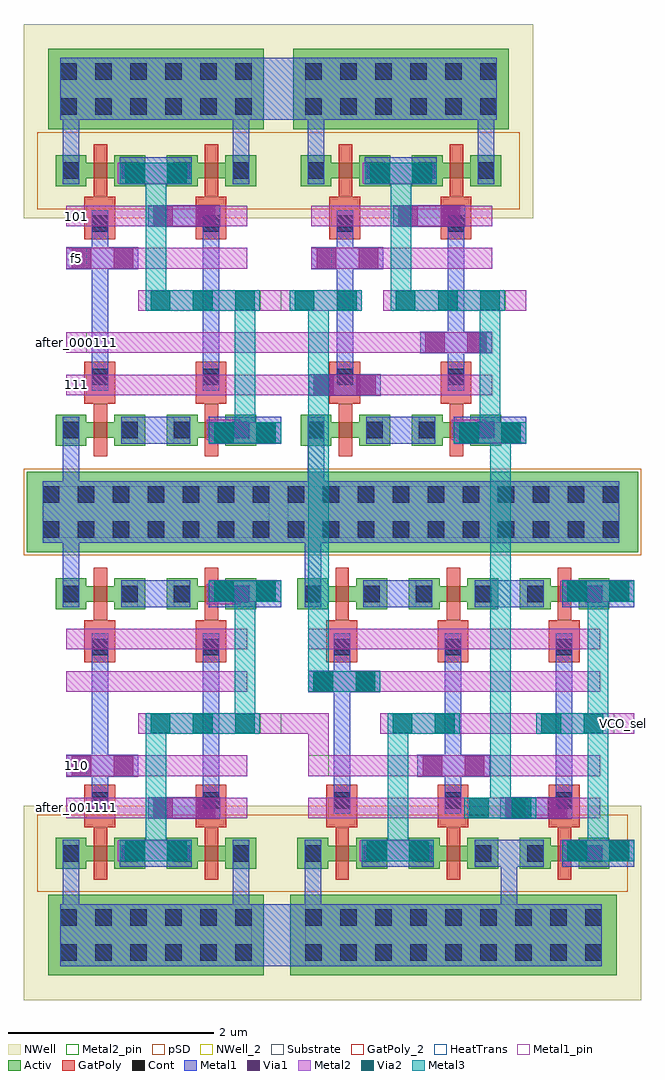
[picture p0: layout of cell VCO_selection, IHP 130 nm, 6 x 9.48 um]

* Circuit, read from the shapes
.subckt VCO_selection 101 110 111 GND VCO_sel after_000111 after_001111 f5
XM1 n1 110 GND GND sg13_lv_nmos w=0.15u l=0.13u
XM2 n2 f5 GND GND sg13_lv_nmos w=0.15u l=0.13u
XM3 NAND_3in_3/b after_001111 n1 GND sg13_lv_nmos w=0.15u l=0.13u
XM4 NAND_3in_3/c 101 n2 GND sg13_lv_nmos w=0.15u l=0.13u
XM5 n3 NAND_3in_3/c GND GND sg13_lv_nmos w=0.15u l=0.13u
XM6 n4 111 GND GND sg13_lv_nmos w=0.15u l=0.13u
XM7 n5 NAND_3in_3/b n3 GND sg13_lv_nmos w=0.15u l=0.13u
XM8 NAND_3in_3/a after_000111 n4 GND sg13_lv_nmos w=0.15u l=0.13u
XM9 VCO_sel NAND_3in_3/a n5 GND sg13_lv_nmos w=0.15u l=0.13u
XM10 NAND_3in_3/b 110 NAND_2in_2/VP NAND_2in_2/VP sg13_lv_pmos w=0.15u l=0.13u
XM11 NAND_3in_3/c f5 NAND_2in_0/VP NAND_2in_0/VP sg13_lv_pmos w=0.15u l=0.13u
XM12 NAND_2in_2/VP after_001111 NAND_3in_3/b NAND_2in_2/VP sg13_lv_pmos w=0.15u l=0.13u
XM13 NAND_2in_0/VP 101 NAND_3in_3/c NAND_2in_0/VP sg13_lv_pmos w=0.15u l=0.13u
XM14 VCO_sel NAND_3in_3/c NAND_2in_2/VP NAND_2in_2/VP sg13_lv_pmos w=0.15u l=0.13u
XM15 NAND_3in_3/a 111 NAND_2in_0/VP NAND_2in_0/VP sg13_lv_pmos w=0.15u l=0.13u
XM16 NAND_2in_2/VP NAND_3in_3/b VCO_sel NAND_2in_2/VP sg13_lv_pmos w=0.15u l=0.13u
XM17 NAND_2in_0/VP after_000111 NAND_3in_3/a NAND_2in_0/VP sg13_lv_pmos w=0.15u l=0.13u
XM18 VCO_sel NAND_3in_3/a NAND_2in_2/VP NAND_2in_2/VP sg13_lv_pmos w=0.15u l=0.13u
.ends

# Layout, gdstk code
from math import pi, radians
import gdstk
lib = gdstk.Library(unit=1e-6, precision=1e-09)
def R(c, l, rs):  # rectangles x0, y0, x1, y1
    for r in rs: c.add(gdstk.rectangle(r[:2], r[2:], *l))
def A(c, l, x, y, w, h, nx, ny, dx, dy):  # array of equal rectangles
    R(c, l, [(x+i*dx, y+j*dy, x+i*dx+w, y+j*dy+h) for i in range(nx) for j in range(ny)])
Activ = (1, 0)
GatPoly = (5, 0)
GatPoly_2 = (5, 2)
Cont = (6, 0)
Metal1 = (8, 0)
Metal1_pin = (8, 2)
Metal2 = (10, 0)
Metal2_pin = (10, 2)
pSD = (14, 0)
Via1 = (19, 0)
Via2 = (29, 0)
Metal3 = (30, 0)
NWell = (31, 0)
NWell_2 = (31, 2)
Substrate = (40, 0)
HeatTrans = (51, 0)

via_4 = lib.new_cell('Via$4')
R(via_4, Metal2, [(-0.1,-0.35,0.1,0.35)])
R(via_4, Via2, [(-0.095,-0.3,0.095,-0.11), (-0.095,0.11,0.095,0.3)])
R(via_4, Metal3, [(-0.1,-0.35,0.1,0.35)])

via_2 = lib.new_cell('Via$2')
R(via_2, Metal1, [(-0.105,-0.35,0.105,0.35)])
R(via_2, Metal2, [(-0.1,-0.35,0.1,0.35)])
R(via_2, Via1, [(-0.095,-0.3,0.095,-0.11), (-0.095,0.11,0.095,0.3)])

ntap1 = lib.new_cell('ntap1')
R(ntap1, Activ, [(0,0,2.09,0.78)])
A(ntap1, Cont, 0.115, 0.14, 0.16, 0.16, 6, 2, 0.34, 0.34)
R(ntap1, Metal1, [(0.115,0.09,1.975,0.69)])
R(ntap1, Metal1_pin, [(0.115,0.09,1.975,0.69), (0.115,0.14,1.975,0.64)])
R(ntap1, NWell, [(-0.24,-0.24,2.33,1.02), (0,0,2.09,0.78)])
R(ntap1, NWell_2, [(0,0,2.09,0.78)])
ntap1.add(gdstk.Label('well', (1.045,0.01), layer=63, texttype=0))
ntap1.add(gdstk.Label('well', (1.045,0.01), layer=31, texttype=0))

ptap1 = lib.new_cell('ptap1')
R(ptap1, Activ, [(0,0,2.51,0.78)])
A(ptap1, Cont, 0.155, 0.14, 0.16, 0.16, 7, 2, 0.34, 0.34)
R(ptap1, Metal1, [(0.155,0.09,2.355,0.69), (0.155,0.14,2.355,0.64)])
R(ptap1, Metal1_pin, [(0.155,0.14,2.355,0.64)])
R(ptap1, pSD, [(-0.03,-0.03,2.54,0.81)])
R(ptap1, Substrate, [(0,0,2.51,0.78)])
ptap1.add(gdstk.Label('sub!', (1.255,0.01), layer=63, texttype=0))
ptap1.add(gdstk.Label('sub!', (1.255,0.01), layer=40, texttype=0))

nmos = lib.new_cell('nmos')
R(nmos, Activ, [(0,0,0.3,0.3), (0.57,0,0.87,0.3), (0,0.075,0.87,0.225)])
R(nmos, GatPoly, [(0.37,-0.105,0.5,0.405)])
R(nmos, GatPoly_2, [(0.37,-0.105,0.5,0.405)])
R(nmos, Cont, [(0.07,0.07,0.23,0.23), (0.64,0.07,0.8,0.23)])
R(nmos, Metal1, [(0.07,0.02,0.23,0.28), (0.64,0.02,0.8,0.28)])
R(nmos, Metal1_pin, [(0.07,0.02,0.23,0.28), (0.64,0.02,0.8,0.28)])
R(nmos, HeatTrans, [(0.37,-0.105,0.5,0.405)])
nmos.add(gdstk.Label('nmos', (0.435,0.15), layer=63, texttype=0))
nmos.add(gdstk.Label('nmos', (0.435,0.15), layer=51, texttype=0))

pmos = lib.new_cell('pmos')
R(pmos, Activ, [(0,0,0.3,0.3), (0.57,0,0.87,0.3), (0,0.075,0.87,0.225)])
R(pmos, GatPoly, [(0.37,-0.105,0.5,0.405), (0.37,-0.105,0.5,0.405)])
R(pmos, Cont, [(0.07,0.07,0.23,0.23), (0.64,0.07,0.8,0.23)])
R(pmos, Metal1, [(0.07,0.02,0.23,0.28), (0.07,0.02,0.23,0.28), (0.64,0.02,0.8,0.28), (0.64,0.02,0.8,0.28)])
R(pmos, pSD, [(-0.18,-0.225,1.05,0.525)])
R(pmos, NWell, [(-0.31,-0.31,1.18,0.61)])
R(pmos, Substrate, [(0.57,0,0.87,0.3)])
R(pmos, HeatTrans, [(0.37,-0.105,0.5,0.405)])
pmos.add(gdstk.Label('pmos', (0.435,0.15), layer=63, texttype=0))
pmos.add(gdstk.Label('pmos', (0.435,0.15), layer=51, texttype=0))

via = lib.new_cell('Via')
R(via, GatPoly, [(-0.15,-0.15,0.15,0.15)])
R(via, Cont, [(-0.08,-0.08,0.08,0.08)])
R(via, Metal1, [(-0.13,-0.08,0.13,0.08)])

via_7 = lib.new_cell('Via$7')
R(via_7, Metal2, [(-0.555,-0.1,0.555,0.1)])
A(via_7, Via2, -0.505, -0.095, 0.19, 0.19, 3, 1, 0.41, 0)
R(via_7, Metal3, [(-0.555,-0.1,0.555,0.1)])

via_6 = lib.new_cell('Via$6')
R(via_6, Metal1, [(-0.35,-0.105,0.35,0.105)])
R(via_6, Metal2, [(-0.35,-0.1,0.35,0.1)])
R(via_6, Via1, [(-0.3,-0.095,-0.11,0.095), (0.11,-0.095,0.3,0.095)])

nand_2in = lib.new_cell('NAND_2in')
R(nand_2in, GatPoly, [(9.375,7.165,9.675,7.275), (10.455,7.165,10.755,7.275), (9.375,9.065,9.675,9.175), (10.455,9.065,10.755,9.175)])
R(nand_2in, Metal1, [(9.735,6.78,10.405,7.04), (10.585,6.78,11.285,7.04), (9.72,9.3,10.42,9.56)])
R(nand_2in, Metal1_pin, [(9.16,6.015,9.36,6.215), (9.325,10.12,9.525,10.32)])
R(nand_2in, Metal2_pin, [(11.085,8.07,11.285,8.27), (9.2,8.48,9.4,8.68), (9.2,8.89,9.4,9.09)])
nand_2in.add(gdstk.FlexPath([(9.245,9.56),(9.245,10.525)], 0.16, ends="flush", simple_path=True, layer=8, datatype=0))  # Metal1
nand_2in.add(gdstk.FlexPath([(10.895,9.56),(10.895,10.525)], 0.16, ends="flush", simple_path=True, layer=8, datatype=0))  # Metal1
nand_2in.add(gdstk.FlexPath([(9.245,6.78),(9.245,6.415)], 0.16, ends="flush", simple_path=True, layer=8, datatype=0))  # Metal1
nand_2in.add(gdstk.FlexPath([(9.525,7.555),(9.525,8.785)], 0.16, ends="flush", simple_path=True, layer=8, datatype=0))  # Metal1
nand_2in.add(gdstk.FlexPath([(10.605,7.555),(10.605,8.785)], 0.16, ends="flush", simple_path=True, layer=8, datatype=0))  # Metal1
nand_2in.add(gdstk.FlexPath([(9.9,8.17),(11.285,8.17)], 0.2, ends="flush", simple_path=True, layer=10, datatype=0))  # Metal2
nand_2in.add(gdstk.FlexPath([(10.895,6.91),(10.565,6.91)], 0.2, ends="flush", simple_path=True, layer=10, datatype=0))  # Metal2
nand_2in.add(gdstk.FlexPath([(9.865,9.405),(9.7,9.405)], 0.2, ends="flush", simple_path=True, layer=10, datatype=0))  # Metal2
nand_2in.add(gdstk.FlexPath([(10.43,8.58),(10.43,8.58)], 0.2, ends="flush", simple_path=True, layer=10, datatype=0))  # Metal2
nand_2in.add(gdstk.FlexPath([(9.2,8.99),(10.955,8.99)], 0.2, ends="flush", simple_path=True, layer=10, datatype=0))  # Metal2
nand_2in.add(gdstk.FlexPath([(9.2,8.58),(10.955,8.58)], 0.2, ends="flush", simple_path=True, layer=10, datatype=0))  # Metal2
nand_2in.add(gdstk.FlexPath([(9.2,7.76),(10.955,7.76)], 0.2, ends="flush", simple_path=True, layer=10, datatype=0))  # Metal2
nand_2in.add(gdstk.FlexPath([(9.2,7.35),(10.955,7.35)], 0.2, ends="flush", simple_path=True, layer=10, datatype=0))  # Metal2
nand_2in.add(gdstk.FlexPath([(10.07,9.305),(10.07,8.07)], 0.2, ends="flush", simple_path=True, layer=30, datatype=0))  # Metal3
nand_2in.add(gdstk.FlexPath([(10.935,6.885),(10.935,8.07)], 0.2, ends="flush", simple_path=True, layer=30, datatype=0))  # Metal3
nand_2in.add(gdstk.Reference(via_4, (10.935,6.885), rotation=3*pi/2))
nand_2in.add(gdstk.Reference(via_2, (10.935,6.885), rotation=3*pi/2))
nand_2in.add(gdstk.Reference(ntap1, (9.025,9.835)))
nand_2in.add(gdstk.Reference(ptap1, (8.815,5.725)))
nand_2in.add(gdstk.Reference(nmos, (10.175,6.76)))
nand_2in.add(gdstk.Reference(pmos, (10.175,9.28)))
nand_2in.add(gdstk.Reference(nmos, (9.095,6.76)))
nand_2in.add(gdstk.Reference(pmos, (9.095,9.28)))
nand_2in.add(gdstk.Reference(via, (9.525,8.915), rotation=pi/2))
nand_2in.add(gdstk.Reference(via, (10.605,8.915), rotation=pi/2))
nand_2in.add(gdstk.Reference(via, (10.605,7.425), rotation=3*pi/2))
nand_2in.add(gdstk.Reference(via, (9.525,7.425), rotation=3*pi/2))
nand_2in.add(gdstk.Reference(via_2, (9.55,8.58), rotation=3*pi/2))
nand_2in.add(gdstk.Reference(via_7, (10.525,8.17)))
nand_2in.add(gdstk.Reference(via_2, (10.07,9.405), rotation=3*pi/2))
nand_2in.add(gdstk.Reference(via_4, (10.07,9.405), rotation=3*pi/2))
nand_2in.add(gdstk.Reference(via_6, (10.345,8.99)))
nand_2in.add(gdstk.Label('y', (11.185,8.17), layer=10, texttype=25))
nand_2in.add(gdstk.Label('b', (9.315,8.575), layer=10, texttype=25))
nand_2in.add(gdstk.Label('a', (9.3,8.99), layer=10, texttype=25))
nand_2in.add(gdstk.Label('VP', (9.295,10.22), layer=8, texttype=25))
nand_2in.add(gdstk.Label('GND', (9.26,6.115), layer=8, texttype=25))

ntap1_1 = lib.new_cell('ntap1$1')
R(ntap1_1, Activ, [(0,0,3.17,0.78)])
A(ntap1_1, Cont, 0.145, 0.14, 0.16, 0.16, 9, 2, 0.34, 0.34)
R(ntap1_1, Metal1, [(0.145,0.09,3.025,0.69)])
R(ntap1_1, Metal1_pin, [(0.145,0.09,3.025,0.69), (0.145,0.14,3.025,0.64)])
R(ntap1_1, NWell, [(-0.24,-0.24,3.41,1.02), (0,0,3.17,0.78)])
R(ntap1_1, NWell_2, [(0,0,3.17,0.78)])
ntap1_1.add(gdstk.Label('well', (1.585,0.01), layer=63, texttype=0))
ntap1_1.add(gdstk.Label('well', (1.585,0.01), layer=31, texttype=0))

ptap1_1 = lib.new_cell('ptap1$1')
R(ptap1_1, Activ, [(0,0,3.59,0.78)])
A(ptap1_1, Cont, 0.185, 0.14, 0.16, 0.16, 10, 2, 0.34, 0.34)
R(ptap1_1, Metal1, [(0.185,0.09,3.405,0.69), (0.185,0.14,3.405,0.64)])
R(ptap1_1, Metal1_pin, [(0.185,0.14,3.405,0.64)])
R(ptap1_1, pSD, [(-0.03,-0.03,3.62,0.81)])
R(ptap1_1, Substrate, [(0,0,3.59,0.78)])
ptap1_1.add(gdstk.Label('sub!', (1.795,0.01), layer=63, texttype=0))
ptap1_1.add(gdstk.Label('sub!', (1.795,0.01), layer=40, texttype=0))

nmos_1 = lib.new_cell('nmos$1')
R(nmos_1, Activ, [(0,0,0.3,0.3), (0.57,0,0.87,0.3), (0,0.075,0.87,0.225)])
R(nmos_1, GatPoly, [(0.37,-0.105,0.5,0.405)])
R(nmos_1, GatPoly_2, [(0.37,-0.105,0.5,0.405)])
R(nmos_1, Cont, [(0.07,0.07,0.23,0.23), (0.64,0.07,0.8,0.23)])
R(nmos_1, Metal1, [(0.07,0.02,0.23,0.28), (0.64,0.02,0.8,0.28)])
R(nmos_1, Metal1_pin, [(0.07,0.02,0.23,0.28), (0.64,0.02,0.8,0.28)])
R(nmos_1, HeatTrans, [(0.37,-0.105,0.5,0.405)])
nmos_1.add(gdstk.Label('nmos', (0.435,0.15), layer=63, texttype=0))
nmos_1.add(gdstk.Label('nmos', (0.435,0.15), layer=51, texttype=0))

pmos_1 = lib.new_cell('pmos$1')
R(pmos_1, Activ, [(0,0,0.3,0.3), (0.57,0,0.87,0.3), (0,0.075,0.87,0.225)])
R(pmos_1, GatPoly, [(0.37,-0.105,0.5,0.405), (0.37,-0.105,0.5,0.405)])
R(pmos_1, Cont, [(0.07,0.07,0.23,0.23), (0.64,0.07,0.8,0.23)])
R(pmos_1, Metal1, [(0.07,0.02,0.23,0.28), (0.07,0.02,0.23,0.28), (0.64,0.02,0.8,0.28), (0.64,0.02,0.8,0.28)])
R(pmos_1, pSD, [(-0.18,-0.225,1.05,0.525)])
R(pmos_1, NWell, [(-0.31,-0.31,1.18,0.61)])
R(pmos_1, Substrate, [(0.57,0,0.87,0.3)])
R(pmos_1, HeatTrans, [(0.37,-0.105,0.5,0.405)])
pmos_1.add(gdstk.Label('pmos', (0.435,0.15), layer=63, texttype=0))
pmos_1.add(gdstk.Label('pmos', (0.435,0.15), layer=51, texttype=0))

via_8 = lib.new_cell('Via$8')
R(via_8, GatPoly, [(-0.15,-0.15,0.15,0.15)])
R(via_8, Cont, [(-0.08,-0.08,0.08,0.08)])
R(via_8, Metal1, [(-0.13,-0.08,0.13,0.08)])

via_2_1 = lib.new_cell('Via$2$1')
R(via_2_1, Metal1, [(-0.105,-0.35,0.105,0.35)])
R(via_2_1, Metal2, [(-0.1,-0.35,0.1,0.35)])
R(via_2_1, Via1, [(-0.095,-0.3,0.095,-0.11), (-0.095,0.11,0.095,0.3)])

via_8_1 = lib.new_cell('Via$8$1')
R(via_8_1, Metal2, [(-0.35,-0.1,0.35,0.1)])
R(via_8_1, Via2, [(-0.3,-0.095,-0.11,0.095), (0.11,-0.095,0.3,0.095)])
R(via_8_1, Metal3, [(-0.35,-0.1,0.35,0.1)])

via_4_1 = lib.new_cell('Via$4$1')
R(via_4_1, Metal2, [(-0.1,-0.35,0.1,0.35)])
R(via_4_1, Via2, [(-0.095,-0.3,0.095,-0.11), (-0.095,0.11,0.095,0.3)])
R(via_4_1, Metal3, [(-0.1,-0.35,0.1,0.35)])

via_6_1 = lib.new_cell('Via$6$1')
R(via_6_1, Metal1, [(-0.35,-0.105,0.35,0.105)])
R(via_6_1, Metal2, [(-0.35,-0.1,0.35,0.1)])
R(via_6_1, Via1, [(-0.3,-0.095,-0.11,0.095), (0.11,-0.095,0.3,0.095)])

nand_3in = lib.new_cell('NAND_3in')
A(nand_3in, GatPoly, 9.375, 7.165, 0.3, 0.11, 3, 2, 1.08, 1.9)
R(nand_3in, Metal1, [(9.735,6.78,10.405,7.04), (10.815,6.78,11.485,7.04), (11.665,6.78,12.365,7.04), (9.72,9.3,10.42,9.56), (10.815,9.3,11.485,9.56), (11.665,9.3,12.365,9.56)])
R(nand_3in, Metal1_pin, [(9.16,6.015,9.36,6.215), (9.325,10.12,9.525,10.32)])
R(nand_3in, Metal2_pin, [(9.2,7.66,9.4,7.86), (12.165,8.07,12.365,8.27), (9.2,8.48,9.4,8.68), (9.2,8.89,9.4,9.09)])
nand_3in.add(gdstk.FlexPath([(11.685,7.555),(11.685,8.785)], 0.16, ends="flush", simple_path=True, layer=8, datatype=0))  # Metal1
nand_3in.add(gdstk.FlexPath([(11.15,9.56),(11.15,9.925)], 0.16, ends="flush", simple_path=True, layer=8, datatype=0))  # Metal1
nand_3in.add(gdstk.FlexPath([(9.245,9.56),(9.245,10.525)], 0.16, ends="flush", simple_path=True, layer=8, datatype=0))  # Metal1
nand_3in.add(gdstk.FlexPath([(9.245,6.78),(9.245,6.415)], 0.16, ends="flush", simple_path=True, layer=8, datatype=0))  # Metal1
nand_3in.add(gdstk.FlexPath([(9.525,7.555),(9.525,8.785)], 0.16, ends="flush", simple_path=True, layer=8, datatype=0))  # Metal1
nand_3in.add(gdstk.FlexPath([(10.605,7.555),(10.605,8.785)], 0.16, ends="flush", simple_path=True, layer=8, datatype=0))  # Metal1
nand_3in.add(gdstk.FlexPath([(9.9,8.17),(12.365,8.17)], 0.2, ends="flush", simple_path=True, layer=10, datatype=0))  # Metal2
nand_3in.add(gdstk.FlexPath([(11.81,9.405),(11.645,9.405)], 0.2, ends="flush", simple_path=True, layer=10, datatype=0))  # Metal2
nand_3in.add(gdstk.FlexPath([(11.81,6.885),(11.645,6.885)], 0.2, ends="flush", simple_path=True, layer=10, datatype=0))  # Metal2
nand_3in.add(gdstk.FlexPath([(9.2,7.76),(12.035,7.76)], 0.2, ends="flush", simple_path=True, layer=10, datatype=0))  # Metal2
nand_3in.add(gdstk.FlexPath([(9.2,7.35),(12.035,7.35)], 0.2, ends="flush", simple_path=True, layer=10, datatype=0))  # Metal2
nand_3in.add(gdstk.FlexPath([(9.2,8.99),(12.035,8.99)], 0.2, ends="flush", simple_path=True, layer=10, datatype=0))  # Metal2
nand_3in.add(gdstk.FlexPath([(9.2,8.58),(12.035,8.58)], 0.2, ends="flush", simple_path=True, layer=10, datatype=0))  # Metal2
nand_3in.add(gdstk.FlexPath([(9.865,9.405),(9.7,9.405)], 0.2, ends="flush", simple_path=True, layer=10, datatype=0))  # Metal2
nand_3in.add(gdstk.FlexPath([(10.43,8.58),(10.43,8.58)], 0.2, ends="flush", simple_path=True, layer=10, datatype=0))  # Metal2
nand_3in.add(gdstk.FlexPath([(12.015,6.885),(12.015,8.17)], 0.2, ends="flush", simple_path=True, layer=30, datatype=0))  # Metal3
nand_3in.add(gdstk.FlexPath([(12.015,9.405),(12.015,8.17)], 0.2, ends="flush", simple_path=True, layer=30, datatype=0))  # Metal3
nand_3in.add(gdstk.FlexPath([(10.07,9.305),(10.07,8.07)], 0.2, ends="flush", simple_path=True, layer=30, datatype=0))  # Metal3
nand_3in.add(gdstk.Reference(ntap1_1, (9.025,9.835)))
nand_3in.add(gdstk.Reference(ptap1_1, (8.815,5.725)))
nand_3in.add(gdstk.Reference(nmos_1, (10.175,6.76)))
nand_3in.add(gdstk.Reference(pmos_1, (10.175,9.28)))
nand_3in.add(gdstk.Reference(nmos_1, (9.095,6.76)))
nand_3in.add(gdstk.Reference(pmos_1, (9.095,9.28)))
nand_3in.add(gdstk.Reference(via_8, (9.525,8.915), rotation=pi/2))
nand_3in.add(gdstk.Reference(via_8, (10.605,8.915), rotation=pi/2))
nand_3in.add(gdstk.Reference(via_8, (10.605,7.425), rotation=3*pi/2))
nand_3in.add(gdstk.Reference(via_8, (9.525,7.425), rotation=3*pi/2))
nand_3in.add(gdstk.Reference(via_2_1, (10.61,8.58), rotation=3*pi/2))
nand_3in.add(gdstk.Reference(via_8_1, (10.32,8.17)))
nand_3in.add(gdstk.Reference(via_2_1, (10.07,9.405), rotation=3*pi/2))
nand_3in.add(gdstk.Reference(via_4_1, (10.07,9.405), rotation=3*pi/2))
nand_3in.add(gdstk.Reference(via_6_1, (11.415,8.99)))
nand_3in.add(gdstk.Reference(pmos_1, (11.255,9.28)))
nand_3in.add(gdstk.Reference(nmos_1, (11.255,6.76)))
nand_3in.add(gdstk.Reference(via_8, (11.685,8.915), rotation=pi/2))
nand_3in.add(gdstk.Reference(via_8, (11.685,7.425), rotation=3*pi/2))
nand_3in.add(gdstk.Reference(via_2_1, (9.55,7.76), rotation=3*pi/2))
nand_3in.add(gdstk.Reference(via_2_1, (12.015,9.405), rotation=3*pi/2))
nand_3in.add(gdstk.Reference(via_4_1, (12.015,9.405), rotation=3*pi/2))
nand_3in.add(gdstk.Reference(via_2_1, (12.015,6.885), rotation=3*pi/2))
nand_3in.add(gdstk.Reference(via_4_1, (12.015,6.885), rotation=3*pi/2))
nand_3in.add(gdstk.Reference(via_8_1, (11.765,8.17)))
nand_3in.add(gdstk.Label('c', (9.315,7.755), layer=10, texttype=25))
nand_3in.add(gdstk.Label('y', (12.265,8.17), layer=10, texttype=25))
nand_3in.add(gdstk.Label('b', (9.315,8.575), layer=10, texttype=25))
nand_3in.add(gdstk.Label('a', (9.3,8.99), layer=10, texttype=25))
nand_3in.add(gdstk.Label('VP', (9.295,10.22), layer=8, texttype=25))
nand_3in.add(gdstk.Label('GND', (9.26,6.115), layer=8, texttype=25))

via_10 = lib.new_cell('Via$10')
R(via_10, Metal2, [(-0.35,-0.1,0.35,0.1)])
R(via_10, Via2, [(-0.3,-0.095,-0.11,0.095), (0.11,-0.095,0.3,0.095)])
R(via_10, Metal3, [(-0.35,-0.1,0.35,0.1)])

via_12 = lib.new_cell('Via$12')
R(via_12, Metal2, [(-0.35,-0.1,0.35,0.1)])
R(via_12, Via2, [(-0.3,-0.095,-0.11,0.095), (0.11,-0.095,0.3,0.095)])
R(via_12, Metal3, [(-0.35,-0.1,0.35,0.1)])

via_14 = lib.new_cell('Via$14')
R(via_14, Metal1, [(-0.35,-0.105,0.35,0.105)])
R(via_14, Metal2, [(-0.35,-0.1,0.35,0.1)])
R(via_14, Via1, [(-0.3,-0.095,-0.11,0.095), (0.11,-0.095,0.3,0.095)])

vco_selection = lib.new_cell('VCO_selection')
R(vco_selection, Metal1, [(13.685,0.83,14.405,1.43), (13.84,4.94,14.175,5.54), (13.58,9.05,14.325,9.65)])
R(vco_selection, Metal2_pin, [(11.885,2.265,12.085,2.465), (11.885,2.675,12.085,2.875), (17.2,3.085,17.4,3.285), (11.885,6.375,12.085,6.575), (11.885,6.785,12.085,6.985), (11.885,7.605,12.085,7.805), (11.885,8.015,12.085,8.215)])
R(vco_selection, pSD, [(13.87,1.55,14,2.3), (13.91,8.18,14.075,8.93)])
vco_selection.add(gdstk.FlexPath([(14.59,6.475),(14.59,6.475)], 0.16, ends="flush", simple_path=True, layer=8, datatype=0))  # Metal1
vco_selection.add(gdstk.FlexPath([(13.64,6.885),(14.265,6.885)], 0.2, ends="flush", simple_path=True, layer=10, datatype=0))  # Metal2
vco_selection.add(gdstk.FlexPath([(13.64,6.475),(14.265,6.475)], 0.2, ends="flush", simple_path=True, layer=10, datatype=0))  # Metal2
vco_selection.add(gdstk.FlexPath([(13.97,3.185),(14.335,3.185),(14.335,2.675)], 0.2, ends="flush", simple_path=True, layer=10, datatype=0))  # Metal2
vco_selection.add(gdstk.FlexPath([(14.61,3.595),(14.61,3.595)], 0.2, ends="flush", simple_path=True, layer=10, datatype=0))  # Metal2
vco_selection.add(gdstk.FlexPath([(14.47,7.295),(14.47,7.295)], 0.2, ends="flush", simple_path=True, layer=10, datatype=0))  # Metal2
vco_selection.add(gdstk.FlexPath([(13.97,7.295),(14.055,7.295)], 0.2, ends="flush", simple_path=True, layer=10, datatype=0))  # Metal2
vco_selection.add(gdstk.FlexPath([(16.1,6.01),(16.1,2.365)], 0.2, ends="flush", simple_path=True, layer=30, datatype=0))  # Metal3
vco_selection.add(gdstk.FlexPath([(14.335,3.595),(14.335,7.395)], 0.2, ends="flush", simple_path=True, layer=30, datatype=0))  # Metal3
vco_selection.add(gdstk.Reference(nand_2in, (2.685,-0.875)))
vco_selection.add(gdstk.Reference(nand_2in, (5.065,-0.875)))
vco_selection.add(gdstk.Reference(nand_2in, (2.685,11.355), x_reflection=True))
vco_selection.add(gdstk.Reference(nand_3in, (5.035,11.355), x_reflection=True))
vco_selection.add(gdstk.Reference(via_10, (16.1,2.365)))
vco_selection.add(gdstk.Reference(via_12, (14.585,3.595)))
vco_selection.add(gdstk.Reference(via_12, (14.405,7.295)))
vco_selection.add(gdstk.Reference(via_14, (14.59,6.475)))
vco_selection.add(gdstk.Reference(via_14, (15.67,6.885)))
vco_selection.add(gdstk.Label('after_000111', (11.985,6.885), layer=10, texttype=25))
vco_selection.add(gdstk.Label('111', (11.985,6.475), layer=10, texttype=25))
vco_selection.add(gdstk.Label('101', (11.985,8.115), layer=10, texttype=25))
vco_selection.add(gdstk.Label('f5', (11.985,7.705), layer=10, texttype=25))
vco_selection.add(gdstk.Label('after_001111', (11.985,2.365), layer=10, texttype=25))
vco_selection.add(gdstk.Label('110', (11.985,2.775), layer=10, texttype=25))
vco_selection.add(gdstk.Label('VCO_sel', (17.3,3.185), layer=10, texttype=25))

lib.write_gds('VCO_selection.gds')
